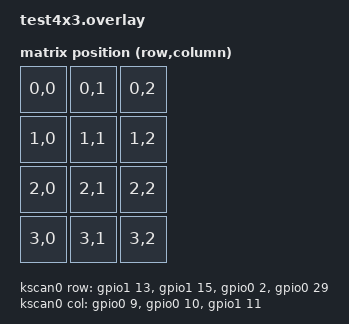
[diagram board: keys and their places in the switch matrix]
#include <dt-bindings/zmk/matrix_transform.h>
#include <physical_layouts.dtsi>



/ {
    chosen {
        zmk,studio-rpc-uart = &sudio_rpc_uart;
        zephyr,console = &cdc_acm_uart;
        zmk,physical-layout = &ph_layout_4x3;
        //zmk,kscan = &kscan0;
    };

    kscan0: kscan {
        compatible = "zmk,kscan-gpio-matrix";
        wakeup-source;
        diode-direction = "row2col";

        col-gpios 
            = <&gpio0 9  (GPIO_ACTIVE_HIGH | GPIO_PULL_DOWN)> // col 0
            , <&gpio0 10 (GPIO_ACTIVE_HIGH | GPIO_PULL_DOWN)> // col 1
            , <&gpio1 11 (GPIO_ACTIVE_HIGH | GPIO_PULL_DOWN)> // col 2
            ;
        row-gpios
            = <&gpio1 13 (GPIO_OPEN_SOURCE)> // row 0
            , <&gpio1 15 (GPIO_OPEN_SOURCE)> // row 1
            , <&gpio0 2  (GPIO_OPEN_SOURCE)> // row 2
            , <&gpio0 29 (GPIO_OPEN_SOURCE)> // row 3
            ;
    };

    default_transform: keymap_transform0 {
        compatible = "zmk,matrix-transform";
        rows = <4>;
        columns = <3>;
        // ┌───┬───┬───┐
        // │ 1 │ 2 │ 3 │
        // ├───┼───┼───┤
        // │ 4 │ 5 │ 6 │
        // ├───┼───┼───┤
        // │ 7 │ 8 │ 9 │
        // ├───┼───┼───┤
        // │ * │ 0 │ # │
        // └───┴───┴───┘
        map = <
            RC(0,0) RC(0,1) RC(0,2)
            RC(1,0) RC(1,1) RC(1,2)
            RC(2,0) RC(2,1) RC(2,2)
            RC(3,0) RC(3,1) RC(3,2)
        >;
    };

    ph_layout_4x3: ph_layout_4x3 {
        compatible = "zmk,physical-layout";
        display-name = "TEST 4x3";
        kscan = <&kscan0>;
        transform = <&default_transform>;
        
        keys  //                     w   h    x    y     rot    rx    ry
            = <&key_physical_attrs 100 100    0    0       0     0     0>
            , <&key_physical_attrs 100 100  100    0       0     0     0>
            , <&key_physical_attrs 100 100  200    0       0     0     0>
            , <&key_physical_attrs 100 100    0  100       0     0     0>
            , <&key_physical_attrs 100 100  100  100       0     0     0>
            , <&key_physical_attrs 100 100  200  100       0     0     0>
            , <&key_physical_attrs 100 100    0  200       0     0     0>
            , <&key_physical_attrs 100 100  100  200       0     0     0>
            , <&key_physical_attrs 100 100  200  200       0     0     0>
            , <&key_physical_attrs 100 100    0  300       0     0     0>
            , <&key_physical_attrs 100 100  100  300       0     0     0>
            , <&key_physical_attrs 100 100  200  300       0     0     0>
        ;
    };

};

zephyr_udc0: &usbd {
    status = "okay";
    sudio_rpc_uart: sudio_rpc_uart {
        compatible = "zephyr,cdc-acm-uart";
    };
    cdc_acm_uart: cdc_acm_uart {
        compatible = "zephyr,cdc-acm-uart";
    };
};

/*
/ {
    chosen {
        zephyr,display = &oled;
    };
};

&pinctrl {
    // configuration for i2c0 device, default state
    i2c0_default: i2c0_default {
        group1 {
            psels = <NRF_PSEL(TWIM_SDA, 0, 17)>,
                    <NRF_PSEL(TWIM_SCL, 0, 20)>;
        };
    };

    i2c0_sleep: i2c0_sleep {
        group1 {
            psels = <NRF_PSEL(TWIM_SDA, 0, 17)>,
                    <NRF_PSEL(TWIM_SCL, 0, 20)>;
            low-power-enable;
        };
    };
};

&i2c0 {
    compatible = "nordic,nrf-twi";
    pinctrl-0 = <&i2c0_default>;
    pinctrl-1 = <&i2c0_sleep>;
    pinctrl-names = "default", "sleep";
    clock-frequency = <I2C_BITRATE_FAST>;    
    status = "okay";

    oled: ssd1306@3c {
        compatible = "solomon,ssd1306fb";
        reg = <0x3c>;
        width = <128>;
        height = <64>;
        segment-offset = <0>;
        page-offset = <0>;
        display-offset = <0>;
        multiplex-ratio = <63>;
        //segment-remap;  // Last column address is mapped to first segment - mirror x
        //com-invdir;     // Scan direction is from last COM output to first COM output - mirror y
        //com-sequential; // Sequential COM pin configuration - rotate 180 degree
        prechargep = <0x22>;
        inversion-on;     // Turn on display color inverting
    };
};
*/

/*
// https://github.com/alinelena/mlego-zmk/blob/main/config/boards/shields/mlego5x13_rev9/mlego5x13_rev9.overlay
&spi1 {
    sr_piso: 165@0 {
        compatible = "zmk,gpio-165";
        status = "okay";
        gpio-controller;
        spi-max-frequency = <200000>;
        #gpio-cells = <2>;
        load-gpios = <&gpio0 11 GPIO_ACTIVE_HIGH>;
        reg = <1>;
        ngpios = <8>;
    }; 
};
*/

/ {
    chosen {
        zephyr,display = &st7735s160x80;
    };
};

&pinctrl {
    spi1_default: spi1_default {
        group1 {
            psels = <NRF_PSEL(SPIM_SCK, 0, 6)>,
                    <NRF_PSEL(SPIM_MOSI, 0, 8)>,
                    <NRF_PSEL(SPIM_MISO, 0, 22)>;
        };
    };

    spi1_sleep: spi1_sleep {
        group1 {
            psels = <NRF_PSEL(SPIM_SCK, 0, 6)>,
                    <NRF_PSEL(SPIM_MOSI, 0, 8)>,
                    <NRF_PSEL(SPIM_MISO, 0, 22)>;
            low-power-enable;
        };
    };
};

&spi1 {
    status = "okay";
    compatible = "nordic,nrf-spim";
    pinctrl-0 = <&spi1_default>;
    pinctrl-1 = <&spi1_sleep>;
    pinctrl-names = "default", "sleep";
    cs-gpios = <&gpio1 6 GPIO_ACTIVE_LOW>;

    st7735s160x80: st7735s@0 {
        compatible = "sitronix,st7735r";
        spi-max-frequency = <1000000>;
        reg = <0>;
        cmd-data-gpios = <&gpio0 11 GPIO_ACTIVE_LOW>;	
        reset-gpios = <&gpio0 9  GPIO_ACTIVE_LOW>;
        width = <80>;
        height = <160>;
        x-offset = <0>;
        y-offset = <0>;
        madctl = <0xC0>;
        colmod = <0x05>;
        caset = [00 00 00 4F];
        raset = [00 00 00 9F];
        vmctr1 = <0x0e>;
        invctr = <0x07>;
        pwctr1 = [a2 02 84];
        pwctr2 = [c5];
        pwctr3 = [0a 00];
        pwctr4 = [8a 2a];
        pwctr5 = [8a ee];
        frmctr1 = [01 2c 2d];
        frmctr2 = [01 2c 2d];
        frmctr3 = [01 2c 2d 01 2c 2d];
        gamctrp1 = [02 1c 07 12 37 32 29 2d 29 25 2b 39 00 01 03 10];
        gamctrn1 = [03 1d 07 06 2e 2c 29 2d 2e 2e 37 3f 00 00 02 10];
    };    
};

/*
 st7735s module -> ProMicro nRF52840
 GND            -> GND
 VCC            -> 3V3 (power cut off if P0.13 is low)
 SCK            -> P0.06, SPI clock
 SDA            -> P0.08, SPI data
 RES            -> P0.09, Active low
 DC             -> P0.11, DC=1 - data, DC=0 - command
 CS             -> P1.06, Active low
 BLK            -> D2, Blacklight Control. High: Blacklight on Low: Blacklight off.

ssd1306 module -> ProMicro nRF52840
GND            -> GND
VCC            -> 3V3 (power cut off if P0.13 is low)
SDA            -> P0.17
SCK            -> P0.20
*/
